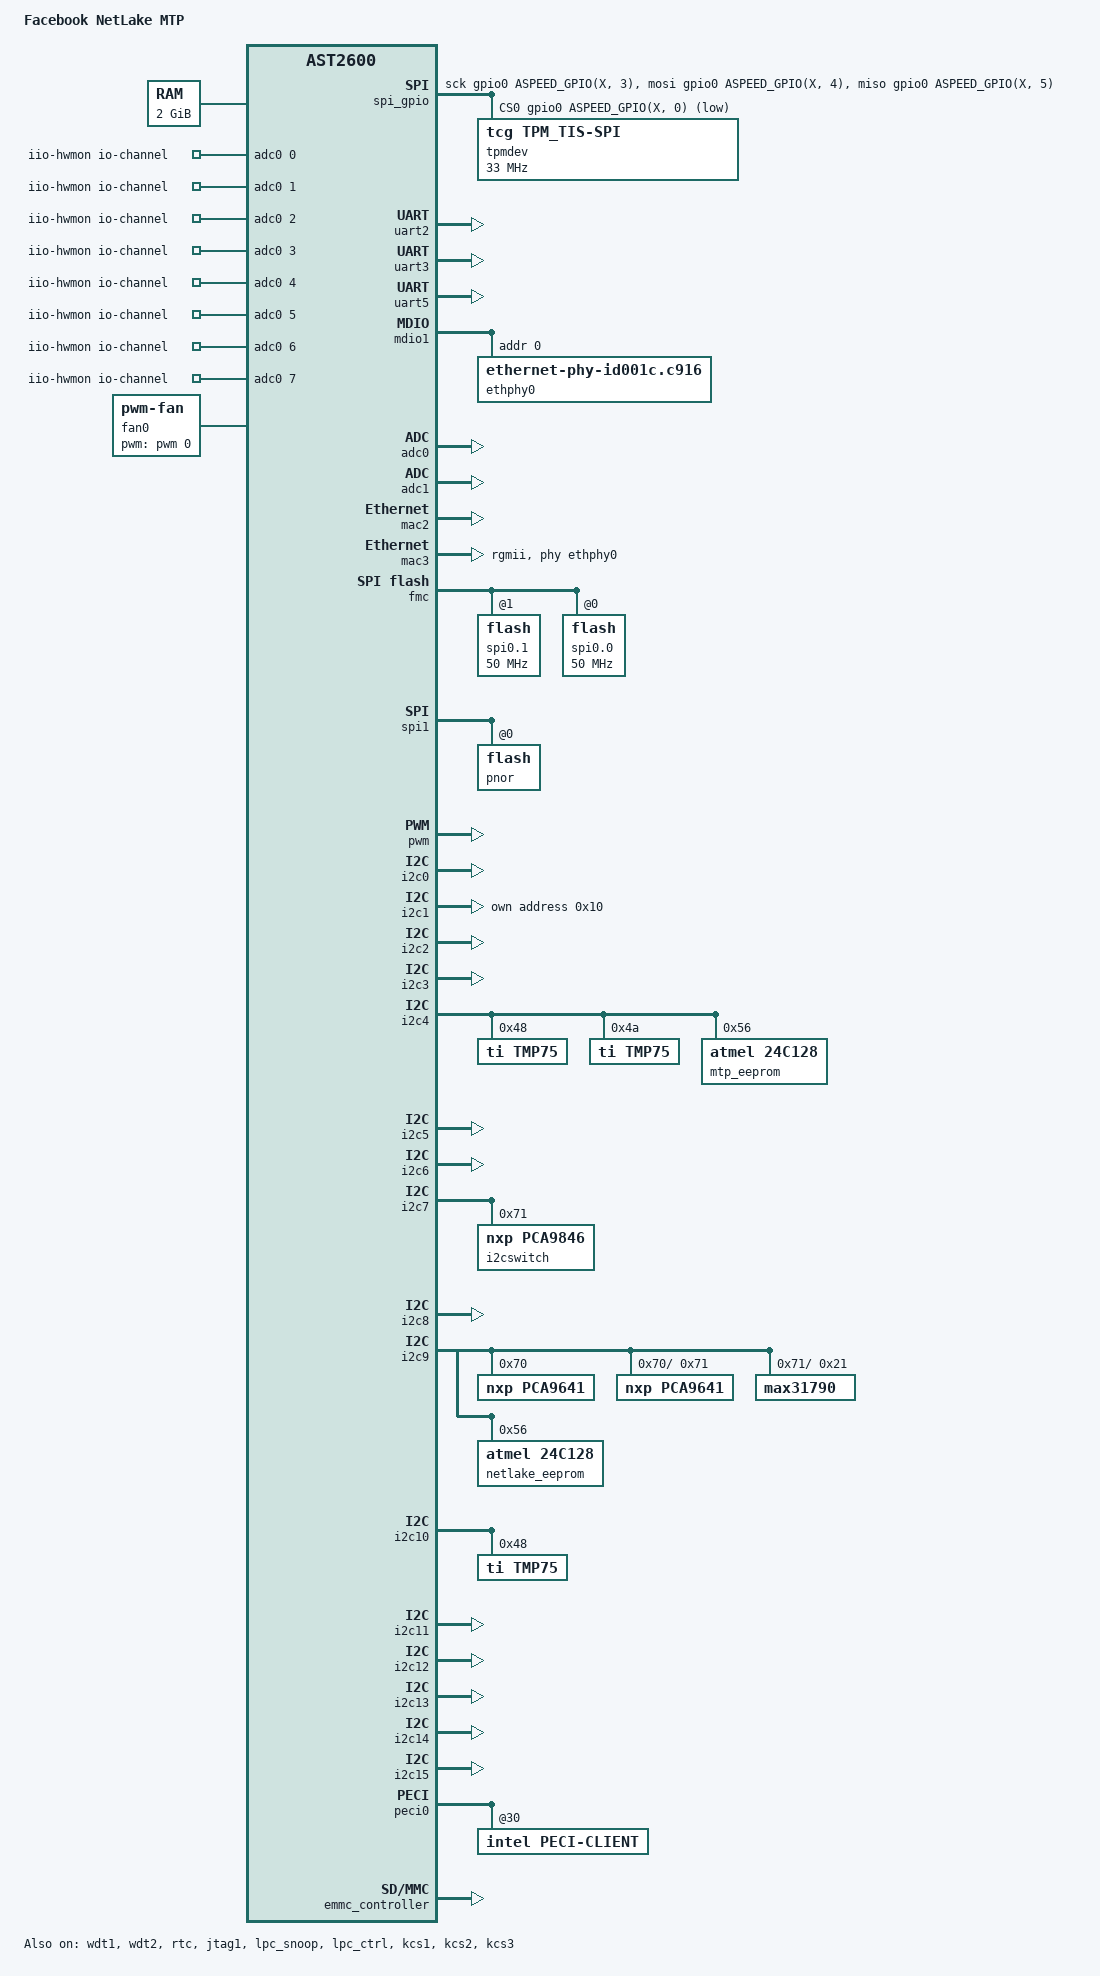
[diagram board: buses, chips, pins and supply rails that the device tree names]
// SPDX-License-Identifier: GPL-2.0-or-later
// Copyright (c) 2020 Facebook Inc.

/dts-v1/;

#include "aspeed-g6.dtsi"
#include <dt-bindings/gpio/aspeed-gpio.h>
#include <dt-bindings/leds/leds-pca955x.h>
#include <dt-bindings/i2c/i2c.h>

/ {
    model = "Facebook NetLake MTP";
    compatible = "facebook,netlakemtp", "aspeed,ast2600";

    aliases {
        serial0 = &uart5;
        serial1 = &uart1;
        serial2 = &uart2;
        serial3 = &uart3;
        serial4 = &uart4;
    };

    chosen {
        stdout-path = &uart5;
        bootargs = "console=ttyS4,57600 earlyprintk";
    };

    memory@80000000 {
        device_type = "memory";
        reg = <0x80000000 0x80000000>;
    };

    reserved-memory {
        #address-cells = <2>;
        #size-cells = <2>;
        ranges;

        ramoops@f10000000 {
            compatible = "ramoops";
            reg = <0 0x9c000000 0 0x180000>;
            record-size = <0x4000>;
            console-size = <0x4000>;
            pmsg-size = <0x4000>;
            max-reason = <3>;
        };
    };

    iio-hwmon {
        compatible = "iio-hwmon";
        io-channels = <&adc0 0>, <&adc0 1>, <&adc0 2>, <&adc0 3>,
                      <&adc0 4>, <&adc0 5>, <&adc0 6>, <&adc0 7>,
                      <&adc1 0>;
    };

    fan0: pwm-fan0 {
        compatible = "pwm-fan";
        pwms = <&pwm 0 40000 0>;
        cooling-min-state = <0>;
        cooling-max-state = <3>;
        #cooling-cells = <2>;
        cooling-levels = <0 25 128 255>;
    };

    spi_gpio: spi-gpio {
        status = "okay";
        compatible = "spi-gpio";
        #address-cells = <1>;
        #size-cells = <0>;
    
        gpio-sck = <&gpio0 ASPEED_GPIO(X, 3) GPIO_ACTIVE_HIGH>;
        gpio-mosi = <&gpio0 ASPEED_GPIO(X, 4) GPIO_ACTIVE_HIGH>;
        gpio-miso = <&gpio0 ASPEED_GPIO(X, 5) GPIO_ACTIVE_HIGH>;
        num-chipselects = <1>;
        cs-gpios = <&gpio0 ASPEED_GPIO(X, 0) GPIO_ACTIVE_LOW>;
    
        tpmdev@0 {
            compatible = "tcg,tpm_tis-spi";
            spi-max-frequency = <33000000>;
            reg = <0>;
        };
    };
};

&uart2 {
    status = "okay";
};

&uart3 {
    status = "okay";
};

&uart5 {
    status = "okay";
    /* Workaround for AST2600 A0 */
    compatible = "snps,dw-apb-uart";
};

&wdt1 {
    status = "okay";
    pinctrl-names = "default";
    pinctrl-0 = <&pinctrl_wdtrst1_default>;
    aspeed,reset-type = "soc";
    aspeed,external-signal;
    aspeed,ext-push-pull;
    aspeed,ext-active-high;
    aspeed,ext-pulse-duration = <256>;
};

&wdt2 {
    status = "okay";
    pinctrl-names = "default";
    pinctrl-0 = <&pinctrl_wdtrst2_default>;
};

&mdio1 {
    status = "okay";
    ethphy0: ethernet-phy@0 {
        compatible = "ethernet-phy-id001c.c916";
        reg = <0>;
    };
};

&adc0 {
    status = "okay";
    ref_voltage = <2500>;
    clock-divisor = <0x510>;
    pinctrl-0 = <&pinctrl_adc0_default &pinctrl_adc1_default
                 &pinctrl_adc2_default &pinctrl_adc3_default
                 &pinctrl_adc4_default &pinctrl_adc5_default
                 &pinctrl_adc6_default &pinctrl_adc7_default>;
};

&adc1 {
    status = "okay";
    ref_voltage = <2500>;
    clock-divisor = <0x510>;

    pinctrl-0 = <&pinctrl_adc8_default>;
};


&mac2 {
    status = "okay";

    pinctrl-names = "default";
    pinctrl-0 = <&pinctrl_rmii3_default>;
    no-hw-checksum;
    use-ncsi;
    mlx,multi-host;
    ncsi-ctrl,start-redo-probe;
    ncsi-ctrl,no-channel-monitor;
    ncsi-package = <1>;
    ncsi-channel = <1>;
    ncsi-rexmit = <1>;
    ncsi-timeout = <2>;
};

&mac3 {
    status = "okay";

    phy-mode = "rgmii";
    phy-handle = <&ethphy0>;

    pinctrl-names = "default";
    pinctrl-0 = <&pinctrl_rgmii4_default>;
};

&rtc {
    status = "okay";
};

&fmc {
    status = "okay";

    flash@0 {
        reg = < 1 >;
        status = "okay";
        m25p,fast-read;
        label = "spi0.1";
        spi-max-frequency = <50000000>;
#include "facebook-bmc-vboot2-flash1-32MBdata0-layout.dtsi"
    };
    flash@1 {
        reg = < 0 >;
        status = "okay";
        m25p,fast-read;
        label = "spi0.0";
        spi-max-frequency = <50000000>;
#include "facebook-bmc-vboot2-flash0-layout.dtsi"
    };
};

&spi1 {
    status = "okay";
    pinctrl-names = "default";
    pinctrl-0 = <&pinctrl_spi1_default>;
    flash@0 {
        status = "okay";
        m25p,fast-read;
        label = "pnor";
    };
};

&pwm {
    status = "okay";
    pinctrl-names = "default";
    pinctrl-0 = <&pinctrl_pwm0_default>;
};

&i2c0 {
    status = "okay";
};

&i2c1 {
    status = "okay";
    ipmb0@10 {
        compatible = "ipmb-dev";
        reg = <(0x10 | I2C_OWN_SLAVE_ADDRESS)>;
        i2c-protocol;
    };
};

&i2c2 {
    status = "okay";
};

&i2c3 {
    status = "okay";
};

&i2c4 {
    status = "okay";

    tmp75@48 {
        compatible = "ti,tmp75";
        reg = <0x48>;
    };

    tmp75@4a {
        compatible = "ti,tmp75";
        reg = <0x4A>;
    };

    mtp_eeprom@56 {
        compatible = "atmel,24c128";
        reg = <0x56>;
        pagesize = <32>;
    };

};

&i2c5 {
    status = "okay";
};

&i2c6 {
    status = "okay";
};

&i2c7 {
    status = "okay";
    i2cswitch@71 {
        compatible = "nxp,pca9846";
        idle-state = <0>;
        i2c-mux-idle-disconnect;
        reg = <0x71>;
    };
};

&i2c8 {
    status = "okay";
};

&i2c9 {
    status = "okay";
    pca9641@70 {
        compatible = "nxp,pca9641";
        reg = <0x70>;
        i2c-arb {
            pca9641@71 {
                compatible = "nxp,pca9641";
                reg = <0x71>;
                i2c-arb {
                    max31790@21 {
                        compatible = "max31790";
                        reg = <0x21>;
                        #address-cells = <1>;
                        #size-cells = <0>;
                        fan-mode = "pwm";
                        fanconfig = /bits/ 8 <0x19 0x19 0x19 0x19 0x19 0x19>;
                    };
                };
            };
        };
    };

    netlake_eeprom@56 {
        compatible = "atmel,24c128";
        reg = <0x56>;
        pagesize = <32>;
    };
};

&i2c10 {
    status = "okay";
    tmp75@48 {
        compatible = "ti,tmp75";
        reg = <0x48>;
    };
};

&i2c11 {
    status = "okay";
};

&i2c12 {
    status = "okay";
};

&i2c13 {
    status = "okay";
};

&i2c14 {
    status = "okay";
};

&i2c15 {
    status = "okay";
};

&gpio0 {
    pinctrl-names = "default";
    pinctrl-0 = <&pinctrl_gpiu1_default &pinctrl_gpiu3_default
                 &pinctrl_gpiu4_default &pinctrl_gpiu5_default
                 &pinctrl_gpiu6_default &pinctrl_gpiu7_default>;
};

&peci0 {
    status = "okay";

    peci-client@30 {
        compatible = "intel,peci-client";
        reg = <0x30>;
        cpu-id= <0x606C2>;
    };
};

&jtag1 {
    status = "okay";
    pinctrl-names = "default";
    pinctrl-0 = <&pinctrl_jtagm_default>;
};

&lpc_snoop {
    status = "okay";
    snoop-ports = <0x80>;
};

&lpc_ctrl {
    status = "okay";
    flash = <&spi1>;
};

&kcs1 {
    kcs_addr = <0xCA0>;
    status = "okay";
};

&kcs2 {
    kcs_addr = <0xCA8>;
    status = "okay";
};

&kcs3 {
    status = "okay";
    kcs_addr = <0xCA2>;
};

&emmc_controller {
    status = "okay";
};

